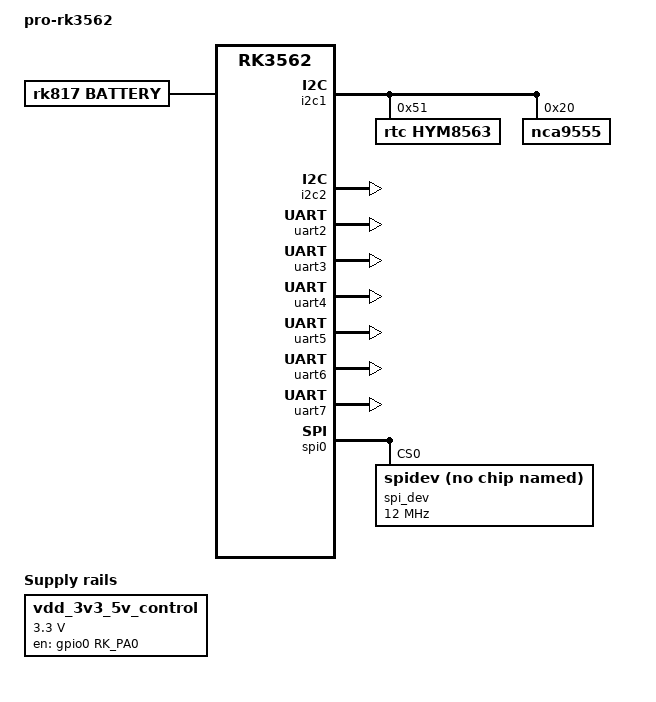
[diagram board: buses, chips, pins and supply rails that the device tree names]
// SPDX-License-Identifier: (GPL-2.0+ OR MIT)
/*
 * Copyright (c) 2022 Rockchip Electronics Co., Ltd.
 *
 */

//#include "../rk3562-evb1-lp4x-v10.dtsi"
//#include "../rk3562-android.dtsi"
//#include "../rk3562-rk817.dtsi"
#include <dt-bindings/gpio/nca9555-gpio.h>

#include "rk3562-evb-rpdzkj-rk817-pwm.dtsi"
#include "../rk3562-linux.dtsi"

/*** usb ***/
#include "rp-usb-rk3562.dtsi"

/*************************adc key***********************/
#include "rp-adc-key.dtsi"

/* camera */
#include "rp-mipi-camera0-rk3562.dtsi"
#include "rp-mipi-camera1-rk3562.dtsi"
//#include "rp-mipi-camera-3562-dual-gc8034-ov13855.dtsi"

/* ethernet */
#include "rp-eth-gmac.dtsi"
#include "rp-eth-pcie2gmac-rk3562.dtsi"

/* wifi/bt */
#include "rp-wifi-bt-vs2275s-rk3562.dtsi"

/***************** SINGLE LCD ****************/
#include "pro-rk3562-single-lcd-gpio.dtsi"      // gpio config of lcd

/* MIPI to HDMI */
//#include "rp-lcd-mipi2hdmi-lt8912.dtsi"

/* MIPI DSI */
//#include "rp-lcd-mipi-5-720-1280-v2-boxTP.dtsi"
//#include "rp-lcd-mipi-5.5-720-1280-v2.dtsi"
//#include "rp-lcd-mipi-7-720-1280.dtsi"
#include "rp-lcd-mipi-7-1024-600.dtsi"
//#include "rp-lcd-mipi-7-1200-1920.dtsi"
//#include "rp-lcd-mipi-8-800-1280-v3.dtsi"
//#include "rp-lcd-mipi-8-1200-1920.dtsi"
//#include "rp-lcd-mipi-10-800-1280-v3.dtsi"
//#include "rp-lcd-mipi-10-1200-1920.dtsi"

/* LVDS DSI */
//#include "rp-lcd-lvds-7-1024-600.dtsi"
//#include "rp-lcd-lvds-10-1280-800.dtsi"

/{

    model = "pro-rk3562";
    compatible = "rpdzkj,pro-rk3562-v10", "rockchip,rk3562";
	/*
	fan_gpio_control {
            compatible = "fan_gpio_control";
            gpio-pin = <&gpio3 RK_PB6 GPIO_ACTIVE_HIGH>;
            temperature-device = "soc-thermal";
            temp-on = <60000>;
            time = <10000>;
            status = "okay";
        };
	*/

	vdd_3v3_5v_control: vdd-3v3-5v-control {
                compatible = "regulator-fixed";
                regulator-name = "vdd_3v3_5v_control";
        	regulator-always-on;
                regulator-boot-on;
                regulator-min-microvolt = <3300000>;
                regulator-max-microvolt = <3300000>;
                enable-active-high;
        	gpio = <&gpio0 RK_PA0 GPIO_ACTIVE_HIGH>;    //In the uboot phase fixed.c resolves gpio
                gpios = <&gpio0 RK_PA0 GPIO_ACTIVE_HIGH>;
        	pinctrl-names = "default";
        	pinctrl-0 = <&vdd_control>;
        };

	rp_power{
                status = "okay";
                compatible = "rp_power";
                rp_not_deep_sleep = <1>;
	//	pinctrl-names = "default";
	//	pinctrl-0 = <&vcc5v0_host_en>;
	//	pinctrl-1 = <&vcc5v0_otg_en>;

	//#define GPIO_FUNCTION_OUTPUT 0
	//#define GPIO_FUNCTION_INPUT 1
	//#define GPIO_FUNCTION_IRQ 2
	//#define GPIO_FUNCTION_FLASH 3
	//#define GPIO_FUNCTION_OUTPUT_CTRL 4


                led {    //system led
                        gpio_num = <&nca9555_gpio IO_00 GPIO_ACTIVE_HIGH>;
                        gpio_function = <3>;
                };
		
		vdd_4g {     
                        gpio_num = <&nca9555_gpio IO_01 GPIO_ACTIVE_HIGH>;
                        gpio_function = <4>;
                };

		usb_pwr {  
                        gpio_num = <&nca9555_gpio IO_03 GPIO_ACTIVE_HIGH>;
                        gpio_function = <4>;
                };

		hub_rst {    //usb hub
                        gpio_num = <&nca9555_gpio IO_02 GPIO_ACTIVE_LOW>;
                        gpio_function = <4>;
                };

		spk_en {       //spk enable
                        gpio_num = <&nca9555_gpio IO_14 GPIO_ACTIVE_HIGH>;
                        gpio_function = <4>;
                };
		
                wifi_pwr {       
                        gpio_num = <&gpio1 RK_PC7 GPIO_ACTIVE_HIGH>;
                        gpio_function = <4>;
                };

//		WIFI,poweren_gpio = <&gpio1 RK_PC7 GPIO_ACTIVE_HIGH>;
               // fan {    //fan
               //         gpio_num = <&gpio3 RK_PB6 GPIO_ACTIVE_HIGH>;
               //         gpio_function = <4>;
               // };
		
	};

	rp_gpio{
                status = "okay";
                compatible = "rp_gpio";

		 nca9555_15 {    
                        gpio_num = <&nca9555_gpio IO_15 GPIO_ACTIVE_HIGH>;
                        gpio_function = <0>;
                };

                nca9555_16 {    
                        gpio_num = <&nca9555_gpio IO_16 GPIO_ACTIVE_HIGH>;
                        gpio_function = <0>;
                };

                nca9555_17 {      
                        gpio_num = <&nca9555_gpio IO_17 GPIO_ACTIVE_HIGH>;
                        gpio_function = <0>;
                };

        };


	fiq-debugger {
                compatible = "rockchip,fiq-debugger";
                rockchip,serial-id = <0>;
                rockchip,wake-irq = <0>;
                /* If enable uart uses irq instead of fiq */
                rockchip,irq-mode-enable = <1>;
                rockchip,baudrate = <115200>;  /* Only 115200 and 1500000 */
                interrupts = <GIC_SPI 242 IRQ_TYPE_LEVEL_HIGH>;
                pinctrl-names = "default";
                pinctrl-0 = <&uart0m0_xfer>;
                status = "okay";
        };
};


&i2c1 {
    status = "okay";
        rtc@51 {
                status = "okay";
                compatible = "rtc,hym8563";
                reg = <0x51>;
        };

	nca9555: mfd-gpio@20 {
        	compatible = "nca9555";
        	reg = <0x20>;
        	status = "okay";

        	nca9555_gpio: gpio-normal@20 {
            		compatible = "nca9555-gpio";
            		gpio-controller;
            		#gpio-cells = <2>;
        	};
    	};
};

&i2c2 {
    	pinctrl-names = "default";
    	pinctrl-0 = <&i2c2m1_xfer>;
    	status = "okay";
};

/*** RS232 ***/
&uart2 {
	status = "okay";
    	pinctrl-names = "default";
  	pinctrl-0 = <&uart2m1_xfer>;
};

&uart3 {
        status = "okay";
        pinctrl-names = "default";
        pinctrl-0 = <&uart3m0_xfer>;
};

/*** TTL ***/
&uart4 {
        status = "okay";
        pinctrl-names = "default";
        pinctrl-0 = <&uart4m0_xfer>;
};

&uart5 {
        status = "okay";
        pinctrl-names = "default";
        pinctrl-0 = <&uart5m1_xfer>;
};

&uart6 {
        status = "okay";
        pinctrl-names = "default";
        pinctrl-0 = <&uart6m0_xfer>;
};

&uart7 {
        status = "okay";
        pinctrl-names = "default";
        pinctrl-0 = <&uart7m0_xfer>;
};

&rk_headset {
    pinctrl-names = "default";
    pinctrl-0 = <&hp_det>;
    headset_gpio = <&gpio4 RK_PB6 GPIO_ACTIVE_HIGH>;
};

&spi0 {
        status = "okay";

        pinctrl-0 = <&spi0m0_csn0 &spi0m0_csn1 &spi0m0_pins>;
        spi_dev@0 {
                compatible = "rockchip,spidev";
                reg = <0>;
                spi-max-frequency = <12000000>;
                spi-lsb-first;
        };
};

/******** must be close,if not system no run ******/
&dmc {
       center-supply = <&vdd_logic>;
       status = "disabled";
};

&dfi {
       status = "disabled";
};

&rk817 {
	battery {
                        compatible = "rk817,battery";
       									status = "okay";
                        ocv_table = <3300 3337 3374 3411 3447 3485 3524
				     3561 3598 3635 3672 3709 3746 3785
				     3822 3859 3896 3933 3970 4007 4050>;
                        design_capacity = <5000>;
                        design_qmax = <5500>;
                        bat_res = <100>;
                        sleep_enter_current = <300>;
                        sleep_exit_current = <300>;
                        sleep_filter_current = <100>;
                        power_off_thresd = <3300>;
                        zero_algorithm_vol = <3850>;
                        max_soc_offset = <60>;
                        monitor_sec = <5>;
                        sample_res = <10>;
                        virtual_power = <0>; //test mode, 1 to force report 66%

			//rpdzkj add  Mandatory configuration under the condition of no battery, the power connected to external DC is 0, and 50% is reported
			dc_rpdzkj_psy = <1>;	 //强制配置无电池情况下接外部DC电量为0上报50%   1:enable  0:not
			
						
                };
	
	charger {
	        compatible = "rk817,charger";
       		status = "okay";
	        min_input_voltage = <4500>;
	        max_input_current = <3000>;//1500
	        max_chrg_current = <1000>;//2000
	        max_chrg_voltage = <4350>;
	        chrg_term_mode = <0>;
	        chrg_finish_cur = <300>;
	        virtual_power = <0>;
	        dc_det_adc = <0>;
	//     	extcon = <&u2phy>;     //otg charging
		gate_function_disable = <1>;

		//power_dc2otg = <1>;
		//dc_det_gpio = <&gpio4 RK_PB6 GPIO_ACTIVE_HIGH>;    //可配置pins 读取dc转3.3V以下电压做dc充电检测脚
		//rpdzkj add    Configure external DC to detect and report charging status
                rpdzkj_dc_vbus = <1>;     //配置外部DC检测上报充电状态 1:enable  0:not
	};
};

&pinctrl {
    power_control{
        vdd_control: vdd-control {
            rockchip,pins = <0 RK_PA0 RK_FUNC_GPIO &pcfg_pull_up>;
        };
    };

    headphone {
        hp_det: hp-det {
            rockchip,pins = <4 RK_PB6 RK_FUNC_GPIO &pcfg_pull_up>;
        };
    };
};
